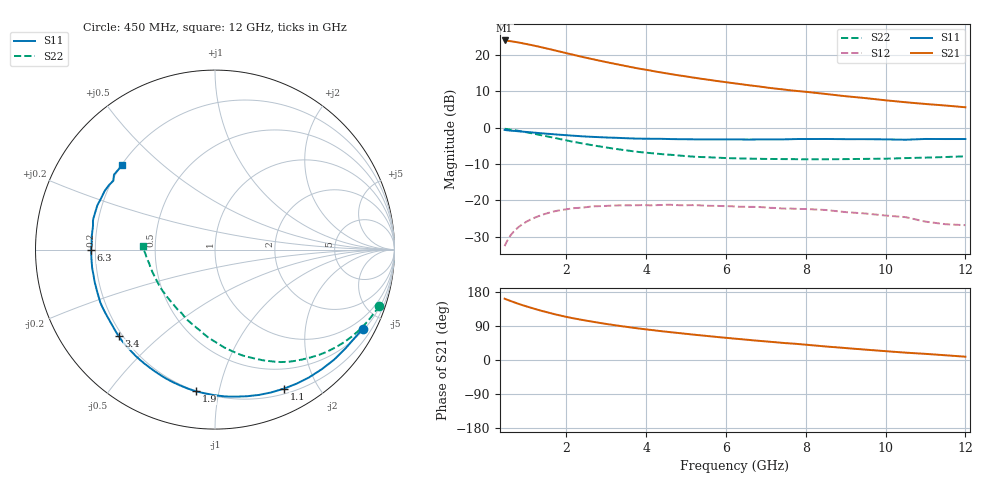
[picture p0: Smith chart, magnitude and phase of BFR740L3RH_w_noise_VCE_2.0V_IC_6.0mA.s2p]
! (c) 2012  Infineon Technologies AG, Munich
! Infineon Technologies  Discrete & RF Semiconductors
! BFR740L3RH
! VCE =  2.0 V,  IC =  6.0 mA
! Common Emitter S-Parameters:  May 2012
# GHz  S  MA  R  50
!  f  S11  S21  S12  S22
! GHz  MAG  ANG  MAG  ANG  MAG  ANG  MAG  ANG
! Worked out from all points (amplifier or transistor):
!   85 points, 450 MHz to 12 GHz, reference 50 ohm
!   highest |S21| = 24.0 dB at 450 MHz (marker M1)
!   |S21| within 3 dB of that: start of sweep to 1.81 GHz
!   unconditionally stable (mu >= 1): 8.896 GHz to end of sweep
!   at 1.8 GHz: K = 0.14, MSG = 21.9 dB, |S12| = -22.8 dB
!   at 4.6 GHz: K = 0.39, MSG = 18.0 dB, |S12| = -21.2 dB
!   at 12 GHz: K = 2.26, MAG = 9.9 dB, |S12| = -26.8 dB
!   lowest NFmin = 0.43 dB at 450 MHz
!   S11 on the Smith chart (normalised r, x): 450 MHz: 0.57, -3.89; 1.1 GHz: 0.26, -1.58; 1.9 GHz: 0.20, -0.85; 3.4 GHz: 0.19, -0.37; 6.3 GHz: 0.18, -0.00; 12 GHz: 0.20, +0.37
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0.45  0.9334 -28.3  15.86 161.8  0.0235 77.9  0.9684 -18.9
0.6  0.9123 -36.9  15.49 155.7  0.0332 67.7  0.9417 -24.7
0.8  0.8935 -48.2  14.86 148.2  0.0431 62.0  0.9053 -32.1
0.9  0.8841 -53.6  14.5 144.7  0.0472 58.9  0.8855 -35.6
1.1  0.8646 -63.6  13.79 138.2  0.0546 52.8  0.8449 -42.3
1.3  0.8459 -73.2  13.06 132.0  0.0608 47.5  0.803 -48.4
1.4  0.8364 -77.6  12.68 129.1  0.0636 45.0  0.7827 -51.4
1.6  0.8204 -86.0  11.97 123.7  0.0687 41.1  0.7449 -57.1
1.9  0.7966 -97.7  10.93 116.1  0.0743 34.5  0.6865 -64.6
2.1  0.781 -104.6  10.29 111.6  0.077 31.9  0.6523 -69.1
2.4  0.7618 -113.8  9.412 105.7  0.0796 26.4  0.6081 -75.6
2.7  0.7468 -121.8  8.662 100.2  0.083 21.9  0.5686 -81.2
2.9  0.7388 -126.9  8.206 96.8  0.0836 19.7  0.5464 -84.8
3.4  0.721 -138.2  7.216 89.0  0.0856 14.4  0.4967 -93.1
3.8  0.7083 -145.9  6.533 83.3  0.086 10.7  0.4651 -99.2
4.3  0.7043 -154.0  5.845 77.0  0.0863 6.5  0.4378 -105.8
5.2  0.6922 -167.1  4.878 66.8  0.0862 0.3  0.3998 -117.8
6.3  0.6903 -179.7  4.02 55.6  0.0821 -6.0  0.3789 -131.0
7.2  0.6911 171.4  3.472 47.2  0.0789 -10.7  0.3716 -141.4
8.5  0.7004 159.4  2.913 35.7  0.0739 -17.5  0.3682 -155.2
10.5  0.684 145.9  2.242 19.4  0.0589 -22.7  0.3823 -172.1
12  0.6991 137.9  1.912 8.7  0.0457 -16.8  0.4043 177.4
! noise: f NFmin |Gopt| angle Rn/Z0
0.45  0.43  0.42  3  0.14
0.9  0.45  0.41  16  0.13
1.5  0.47  0.42  30  0.11
1.9  0.5  0.43  38  0.11
2.4  0.53  0.42  50  0.11
3.5  0.62  0.43  68  0.09
5.5  0.82  0.44  100  0.09
8  1.08  0.41  138  0.08
10  1.28  0.43  164  0.06
12  1.48  0.46  -164  0.05
